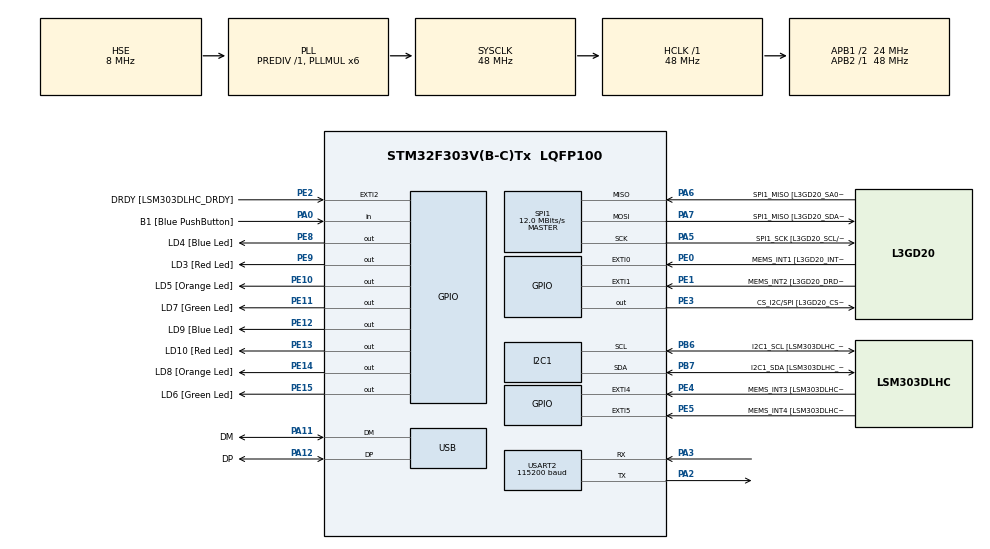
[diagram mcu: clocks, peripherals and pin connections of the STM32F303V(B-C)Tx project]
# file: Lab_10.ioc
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I2C1.Timing=0x00201D2B
I2C1.Timing-I2C=0x2000090E
Mcu.Family=STM32F3
Mcu.Name=STM32F303V(B-C)Tx
Mcu.Package=LQFP100
NVIC.PriorityGroup=NVIC_PRIORITYGROUP_0
PA0.GPIO_Label=B1 [Blue PushButton]
PA0.Signal=GPIO_Input
PA11.GPIO_Label=DM
PA11.Mode=Device
PA11.Signal=USB_DM
PA12.GPIO_Label=DP
PA12.Mode=Device
PA12.Signal=USB_DP
PA13.GPIO_Label=SWDIO
PA13.Mode=Serial_Wire
PA13.Signal=SYS_JTMS-SWDIO
PA14.GPIO_Label=SWCLK
PA14.Mode=Serial_Wire
PA14.Signal=SYS_JTCK-SWCLK
PA2.Mode=Asynchronous
PA2.Signal=USART2_TX
PA3.Mode=Asynchronous
PA3.Signal=USART2_RX
PA5.GPIO_Label=SPI1_SCK [L3GD20_SCL/SPC]
PA5.Mode=Full_Duplex_Master
PA5.Signal=SPI1_SCK
PA6.GPIO_Label=SPI1_MISO [L3GD20_SA0/SDO]
PA6.Mode=Full_Duplex_Master
PA6.Signal=SPI1_MISO
PA7.GPIO_Label=SPI1_MISO [L3GD20_SDA/SDI/SDO]
PA7.Mode=Full_Duplex_Master
PA7.Signal=SPI1_MOSI
PB3.GPIO_Label=SWO
PB3.Signal=SYS_JTDO-TRACESWO
PB6.GPIO_Label=I2C1_SCL [LSM303DLHC_SCL]
PB6.GPIO_Pu=GPIO_PULLUP
PB6.Mode=I2C
PB6.Signal=I2C1_SCL
PB7.GPIO_Label=I2C1_SDA [LSM303DLHC_SDA]
PB7.GPIO_Pu=GPIO_PULLUP
PB7.Mode=I2C
PB7.Signal=I2C1_SDA
PC14-OSC32_IN.GPIO_Label=OSC32_IN
PC14-OSC32_IN.Signal=RCC_OSC32_IN
PC15-OSC32_OUT.GPIO_Label=OSC32_OUT
PC15-OSC32_OUT.Signal=RCC_OSC32_OUT
PE0.GPIO_Label=MEMS_INT1 [L3GD20_INT1]
PE0.GPIO_ModeDefaultEXTI=GPIO_MODE_EVT_RISING
PE0.Signal=GPXTI0
PE1.GPIO_Label=MEMS_INT2 [L3GD20_DRDY/INT2]
PE1.GPIO_ModeDefaultEXTI=GPIO_MODE_EVT_RISING
PE1.Signal=GPXTI1
PE10.GPIO_Label=LD5 [Orange Led]
PE10.Signal=GPIO_Output
PE11.GPIO_Label=LD7 [Green Led]
PE11.Signal=GPIO_Output
PE12.GPIO_Label=LD9 [Blue Led]
PE12.Signal=GPIO_Output
PE13.GPIO_Label=LD10 [Red Led]
PE13.Signal=GPIO_Output
PE14.GPIO_Label=LD8 [Orange Led]
PE14.Signal=GPIO_Output
PE15.GPIO_Label=LD6 [Green Led]
PE15.Signal=GPIO_Output
PE2.GPIO_Label=DRDY [LSM303DLHC_DRDY]
PE2.GPIO_ModeDefaultEXTI=GPIO_MODE_EVT_RISING
PE2.Signal=GPXTI2
PE3.GPIO_Label=CS_I2C/SPI [L3GD20_CS_I2C/SPI]
PE3.Signal=GPIO_Output
PE4.GPIO_Label=MEMS_INT3 [LSM303DLHC_INT1]
PE4.GPIO_ModeDefaultEXTI=GPIO_MODE_EVT_RISING
PE4.Signal=GPXTI4
PE5.GPIO_Label=MEMS_INT4 [LSM303DLHC_INT2]
PE5.GPIO_ModeDefaultEXTI=GPIO_MODE_EVT_RISING
PE5.Signal=GPXTI5
PE8.GPIO_Label=LD4 [Blue Led]
PE8.Signal=GPIO_Output
PE9.GPIO_Label=LD3 [Red Led]
PE9.Signal=GPIO_Output
PF0-OSC_IN.GPIO_Label=OSC_IN
PF0-OSC_IN.Mode=HSE-External-Clock-Source
PF0-OSC_IN.Signal=RCC_OSC_IN
PF1-OSC_OUT.GPIO_Label=OSC_OUT
PF1-OSC_OUT.Signal=RCC_OSC_OUT
ProjectManager.HeapSize=0x200
ProjectManager.StackSize=0x400
ProjectManager.TargetToolchain=CMake
RCC.AHBFreq_Value=48000000
RCC.APB1CLKDivider=RCC_HCLK_DIV2
RCC.APB1Freq_Value=24000000
RCC.APB1TimFreq_Value=48000000
RCC.APB2Freq_Value=48000000
RCC.APB2TimFreq_Value=48000000
RCC.CortexFreq_Value=48000000
RCC.HCLKFreq_Value=48000000
RCC.HSE_VALUE=8000000
RCC.HSI_VALUE=8000000
RCC.LSE_VALUE=32768
RCC.PLLMUL=RCC_PLL_MUL6
RCC.SYSCLKFreq_VALUE=48000000
RCC.SYSCLKSourceVirtual=RCC_SYSCLKSOURCE_PLLCLK
RCC.USBFreq_Value=48000000
SPI1.BaudRatePrescaler=SPI_BAUDRATEPRESCALER_4
SPI1.BaudRatePrescaler-Full_Duplex_Master=SPI_BAUDRATEPRESCALER_2
SPI1.CalculateBaudRate=12.0 MBits/s
SPI1.CalculateBaudRate-Full_Duplex_Master=24.0 MBits/s
SPI1.Direction=SPI_DIRECTION_2LINES
SPI1.Mode=SPI_MODE_MASTER
SPI1.Mode-Full_Duplex_Master=SPI_MODE_MASTER
SPI1.VirtualType=VM_MASTER
USART2.BaudRate=115200
USART2.VirtualMode-Asynchronous=VM_ASYNC
board=STM32F3DISCOVERY

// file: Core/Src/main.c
/* USER CODE BEGIN Header */
/**
  ******************************************************************************
  * @file           : main.c
  * @brief          : Main program body
  ******************************************************************************
  * @attention
  *
  * Copyright (c) 2026 STMicroelectronics.
  * All rights reserved.
  *
  * This software is licensed under terms that can be found in the LICENSE file
  * in the root directory of this software component.
  * If no LICENSE file comes with this software, it is provided AS-IS.
  *
  ******************************************************************************
  */
/* USER CODE END Header */
#include "main.h"

/* USER CODE BEGIN Includes */

#include <stdio.h>
#include <stdlib.h>
#include <string.h>
#include <stdarg.h>
//for  task 2--------------------------------------------
#include "heap_driver.h"
#include <stdint.h>
#include <stddef.h>

/* USER CODE END Includes */

I2C_HandleTypeDef hi2c1;

SPI_HandleTypeDef hspi1;

UART_HandleTypeDef huart2;

PCD_HandleTypeDef hpcd_USB_FS;

/* USER CODE BEGIN PV */
#define N 10
//TASK 2-------------------------------------------------------------------------------

#define HEAP_START_ADDR ((uint8_t*)0x20001000)
#define HEAP_SIZE       (4 * 1024)
#define BLOCK_SIZE      16
#define BLOCK_COUNT     (HEAP_SIZE / BLOCK_SIZE)

/*
 * block_map[i] = 0 -> free
 * block_map[i] = 1 -> used
 */
static uint8_t block_map[BLOCK_COUNT];

/* Base address of custom heap in SRAM */
static uint8_t *const heap_base = HEAP_START_ADDR;

/* USER CODE END PV */

void SystemClock_Config(void);
static void MX_GPIO_Init(void);
static void MX_I2C1_Init(void);
static void MX_SPI1_Init(void);
static void MX_USB_PCD_Init(void);
static void MX_USART2_UART_Init(void);

/* USER CODE BEGIN 0 */
void myprint(const char *format, ...)
{
    char buffer[128];
    va_list args;

    va_start(args, format);
    vsnprintf(buffer, sizeof(buffer), format, args);
    va_end(args);

    // Replace \n with \r\n automatically
    char fixed[128];
    int j = 0;

    for (int i = 0; buffer[i] != '\0'; i++)
    {
        if (buffer[i] == '\n')
        {
            fixed[j++] = '\r';
        }
        fixed[j++] = buffer[i];
    }
    fixed[j] = '\0';

    HAL_UART_Transmit(&huart2, (uint8_t*)fixed, strlen(fixed), HAL_MAX_DELAY);
}
/* ===================== ARRAY HELPERS ===================== */
int* allocate_with_malloc(size_t n)
{
    int *ptr = (int *)malloc(n * sizeof(int));
    if (ptr == NULL)
    {
        myprint("malloc failed!\r\n");
    }
    return ptr;
}

int* allocate_with_calloc(size_t n)
{
    int *ptr = (int *)calloc(n, sizeof(int));
    if (ptr == NULL)
    {
        myprint("calloc failed!\r\n");
    }
    return ptr;
}

void init_malloc_array(int *arr, size_t n)
{
    for (size_t i = 0; i < n; i++)
    {
        arr[i] = i * 2;
    }
}

void init_calloc_array(int *arr, size_t n)
{
    for (size_t i = 0; i < n; i++)
    {
        arr[i] = i + 1;
    }
}

void print_array(const char *title, int *arr, size_t n)
{
    myprint("%s\r\n", title);
    for (size_t i = 0; i < n; i++)
    {
        myprint("arr[%d] = %d\r\n", (int)i, arr[i]);
    }
    myprint("\r\n");
}

void free_and_null(int **ptr)
{
    if (*ptr != NULL)
    {
        free(*ptr);
        *ptr = NULL;
    }
}

/* ===================== TASK 1 ===================== */
void dynamic_memory_check(void)
{
    int *malloc_arr = NULL;
    int *calloc_arr = NULL;
    myprint("=== Task 1: Dynamic Memory Allocation ===\r\n");
    /* Step (b): malloc */
    malloc_arr = allocate_with_malloc(N);
    if (malloc_arr == NULL)
    {
        return;
    }
    init_malloc_array(malloc_arr, N);

    calloc_arr = allocate_with_calloc(N);
    if (calloc_arr == NULL)
    {
        free_and_null(&malloc_arr);
        return;
    }
    print_array("calloc array before initialization:", calloc_arr, N);

  init_calloc_array(calloc_arr, N);

    print_array("malloc array:", malloc_arr, N);
    print_array("calloc array after initialization:", calloc_arr, N);

    free_and_null(&malloc_arr);
    free_and_null(&calloc_arr);

    myprint("Memory successfully freed and pointers cleared.\r\n");
}
/* ===================== TASK 2 ===================== */

void task2_test(void)
{
    char *block1;
    char *block2;

    myprint("\r\n=== Custom Heap Driver (Direct SRAM) ===\r\n");

    heap_init();

    block1 = (char *)heap_alloc(32);
    block2 = (char *)heap_alloc(48);

    if (block1 == NULL || block2 == NULL)
    {
        myprint("Allocation failed\r\n");
        return;
    }

    strcpy(block1, "Data in Block 1");
    strcpy(block2, "Text from Block 2");

    myprint(block1);
    myprint("\r\n");

    myprint(block2);
    myprint("\r\n");

    heap_free(block1);
    heap_free(block2);

    block1 = NULL;
    block2 = NULL;

    myprint("Blocks freed.\r\n");
}

/* USER CODE END 0 */

int main(void)
{

  /* MCU Configuration--------------------------------------------------------*/

  /* Reset of all peripherals, Initializes the Flash interface and the Systick. */

  HAL_Init();

  /* Configure the system clock */
  SystemClock_Config();

  /* Initialize all configured peripherals */
  MX_GPIO_Init();
  MX_I2C1_Init();
  MX_SPI1_Init();
  MX_USB_PCD_Init();
  MX_USART2_UART_Init();

  /* Infinite loop */
  /* USER CODE BEGIN WHILE */
  while (1)
  {

    task2_test();
    HAL_Delay(2000);  // 2 seconds

    /* USER CODE END WHILE */

  }
}

void SystemClock_Config(void)
{
  RCC_OscInitTypeDef RCC_OscInitStruct = {0};
  RCC_ClkInitTypeDef RCC_ClkInitStruct = {0};
  RCC_PeriphCLKInitTypeDef PeriphClkInit = {0};

  /** Initializes the RCC Oscillators according to the specified parameters
  * in the RCC_OscInitTypeDef structure.
  */
  RCC_OscInitStruct.OscillatorType = RCC_OSCILLATORTYPE_HSI|RCC_OSCILLATORTYPE_HSE;
  RCC_OscInitStruct.HSEState = RCC_HSE_BYPASS;
  RCC_OscInitStruct.HSEPredivValue = RCC_HSE_PREDIV_DIV1;
  RCC_OscInitStruct.HSIState = RCC_HSI_ON;
  RCC_OscInitStruct.HSICalibrationValue = RCC_HSICALIBRATION_DEFAULT;
  RCC_OscInitStruct.PLL.PLLState = RCC_PLL_ON;
  RCC_OscInitStruct.PLL.PLLSource = RCC_PLLSOURCE_HSE;
  RCC_OscInitStruct.PLL.PLLMUL = RCC_PLL_MUL6;
  if (HAL_RCC_OscConfig(&RCC_OscInitStruct) != HAL_OK)
  {
    Error_Handler();
  }

  /** Initializes the CPU, AHB and APB buses clocks
  */
  RCC_ClkInitStruct.ClockType = RCC_CLOCKTYPE_HCLK|RCC_CLOCKTYPE_SYSCLK
                              |RCC_CLOCKTYPE_PCLK1|RCC_CLOCKTYPE_PCLK2;
  RCC_ClkInitStruct.SYSCLKSource = RCC_SYSCLKSOURCE_PLLCLK;
  RCC_ClkInitStruct.AHBCLKDivider = RCC_SYSCLK_DIV1;
  RCC_ClkInitStruct.APB1CLKDivider = RCC_HCLK_DIV2;
  RCC_ClkInitStruct.APB2CLKDivider = RCC_HCLK_DIV1;

  if (HAL_RCC_ClockConfig(&RCC_ClkInitStruct, FLASH_LATENCY_1) != HAL_OK)
  {
    Error_Handler();
  }
  PeriphClkInit.PeriphClockSelection = RCC_PERIPHCLK_USB|RCC_PERIPHCLK_USART2
                              |RCC_PERIPHCLK_I2C1;
  PeriphClkInit.Usart2ClockSelection = RCC_USART2CLKSOURCE_PCLK1;
  PeriphClkInit.I2c1ClockSelection = RCC_I2C1CLKSOURCE_HSI;
  PeriphClkInit.USBClockSelection = RCC_USBCLKSOURCE_PLL;
  if (HAL_RCCEx_PeriphCLKConfig(&PeriphClkInit) != HAL_OK)
  {
    Error_Handler();
  }
}

static void MX_I2C1_Init(void)
{

  hi2c1.Instance = I2C1;
  hi2c1.Init.Timing = 0x00201D2B;
  hi2c1.Init.OwnAddress1 = 0;
  hi2c1.Init.AddressingMode = I2C_ADDRESSINGMODE_7BIT;
  hi2c1.Init.DualAddressMode = I2C_DUALADDRESS_DISABLE;
  hi2c1.Init.OwnAddress2 = 0;
  hi2c1.Init.OwnAddress2Masks = I2C_OA2_NOMASK;
  hi2c1.Init.GeneralCallMode = I2C_GENERALCALL_DISABLE;
  hi2c1.Init.NoStretchMode = I2C_NOSTRETCH_DISABLE;
  if (HAL_I2C_Init(&hi2c1) != HAL_OK)
  {
    Error_Handler();
  }

  /** Configure Analogue filter
  */
  if (HAL_I2CEx_ConfigAnalogFilter(&hi2c1, I2C_ANALOGFILTER_ENABLE) != HAL_OK)
  {
    Error_Handler();
  }

  /** Configure Digital filter
  */
  if (HAL_I2CEx_ConfigDigitalFilter(&hi2c1, 0) != HAL_OK)
  {
    Error_Handler();
  }

}

static void MX_SPI1_Init(void)
{

  /* SPI1 parameter configuration*/
  hspi1.Instance = SPI1;
  hspi1.Init.Mode = SPI_MODE_MASTER;
  hspi1.Init.Direction = SPI_DIRECTION_2LINES;
  hspi1.Init.DataSize = SPI_DATASIZE_4BIT;
  hspi1.Init.CLKPolarity = SPI_POLARITY_LOW;
  hspi1.Init.CLKPhase = SPI_PHASE_1EDGE;
  hspi1.Init.NSS = SPI_NSS_SOFT;
  hspi1.Init.BaudRatePrescaler = SPI_BAUDRATEPRESCALER_4;
  hspi1.Init.FirstBit = SPI_FIRSTBIT_MSB;
  hspi1.Init.TIMode = SPI_TIMODE_DISABLE;
  hspi1.Init.CRCCalculation = SPI_CRCCALCULATION_DISABLE;
  hspi1.Init.CRCPolynomial = 7;
  hspi1.Init.CRCLength = SPI_CRC_LENGTH_DATASIZE;
  hspi1.Init.NSSPMode = SPI_NSS_PULSE_ENABLE;
  if (HAL_SPI_Init(&hspi1) != HAL_OK)
  {
    Error_Handler();
  }

}

static void MX_USART2_UART_Init(void)
{

  huart2.Instance = USART2;
  huart2.Init.BaudRate = 115200;
  huart2.Init.WordLength = UART_WORDLENGTH_8B;
  huart2.Init.StopBits = UART_STOPBITS_1;
  huart2.Init.Parity = UART_PARITY_NONE;
  huart2.Init.Mode = UART_MODE_TX_RX;
  huart2.Init.HwFlowCtl = UART_HWCONTROL_NONE;
  huart2.Init.OverSampling = UART_OVERSAMPLING_16;
  huart2.Init.OneBitSampling = UART_ONE_BIT_SAMPLE_DISABLE;
  huart2.AdvancedInit.AdvFeatureInit = UART_ADVFEATURE_NO_INIT;
  if (HAL_UART_Init(&huart2) != HAL_OK)
  {
    Error_Handler();
  }

}

static void MX_USB_PCD_Init(void)
{

  hpcd_USB_FS.Instance = USB;
  hpcd_USB_FS.Init.dev_endpoints = 8;
  hpcd_USB_FS.Init.speed = PCD_SPEED_FULL;
  hpcd_USB_FS.Init.phy_itface = PCD_PHY_EMBEDDED;
  hpcd_USB_FS.Init.low_power_enable = DISABLE;
  hpcd_USB_FS.Init.battery_charging_enable = DISABLE;
  if (HAL_PCD_Init(&hpcd_USB_FS) != HAL_OK)
  {
    Error_Handler();
  }

}

static void MX_GPIO_Init(void)
{
  GPIO_InitTypeDef GPIO_InitStruct = {0};

  /* GPIO Ports Clock Enable */
  __HAL_RCC_GPIOE_CLK_ENABLE();
  __HAL_RCC_GPIOC_CLK_ENABLE();
  __HAL_RCC_GPIOF_CLK_ENABLE();
  __HAL_RCC_GPIOA_CLK_ENABLE();
  __HAL_RCC_GPIOB_CLK_ENABLE();

  /*Configure GPIO pin Output Level */
  HAL_GPIO_WritePin(GPIOE, CS_I2C_SPI_Pin|LD4_Pin|LD3_Pin|LD5_Pin
                          |LD7_Pin|LD9_Pin|LD10_Pin|LD8_Pin
                          |LD6_Pin, GPIO_PIN_RESET);

  /*Configure GPIO pins : DRDY_Pin MEMS_INT3_Pin MEMS_INT4_Pin MEMS_INT1_Pin
                           MEMS_INT2_Pin */
  GPIO_InitStruct.Pin = DRDY_Pin|MEMS_INT3_Pin|MEMS_INT4_Pin|MEMS_INT1_Pin
                          |MEMS_INT2_Pin;
  GPIO_InitStruct.Mode = GPIO_MODE_EVT_RISING;
  GPIO_InitStruct.Pull = GPIO_NOPULL;
  HAL_GPIO_Init(GPIOE, &GPIO_InitStruct);

  /*Configure GPIO pins : CS_I2C_SPI_Pin LD4_Pin LD3_Pin LD5_Pin
                           LD7_Pin LD9_Pin LD10_Pin LD8_Pin
                           LD6_Pin */
  GPIO_InitStruct.Pin = CS_I2C_SPI_Pin|LD4_Pin|LD3_Pin|LD5_Pin
                          |LD7_Pin|LD9_Pin|LD10_Pin|LD8_Pin
                          |LD6_Pin;
  GPIO_InitStruct.Mode = GPIO_MODE_OUTPUT_PP;
  GPIO_InitStruct.Pull = GPIO_NOPULL;
  GPIO_InitStruct.Speed = GPIO_SPEED_FREQ_LOW;
  HAL_GPIO_Init(GPIOE, &GPIO_InitStruct);

  /*Configure GPIO pin : B1_Pin */
  GPIO_InitStruct.Pin = B1_Pin;
  GPIO_InitStruct.Mode = GPIO_MODE_INPUT;
  GPIO_InitStruct.Pull = GPIO_NOPULL;
  HAL_GPIO_Init(B1_GPIO_Port, &GPIO_InitStruct);

}

void Error_Handler(void)
{
  __disable_irq();
  while (1)
  {
  }
}
